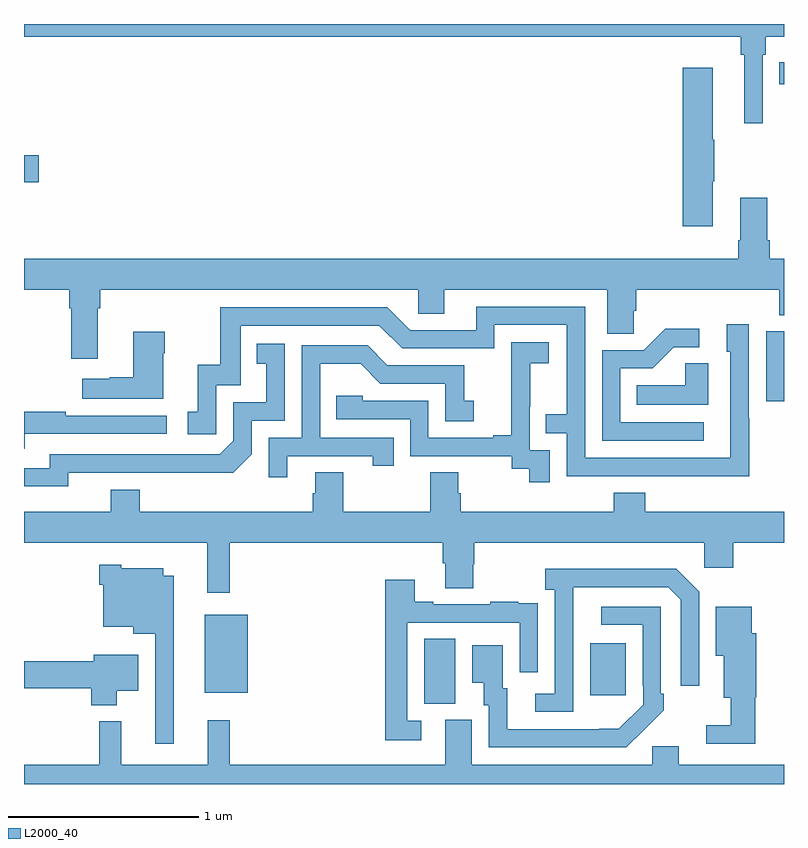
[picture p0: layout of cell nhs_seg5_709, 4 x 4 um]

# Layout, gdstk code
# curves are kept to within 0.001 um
import gdstk
lib = gdstk.Library(unit=1e-6, precision=1e-09)
def R(c, l, rs):  # rectangles x0, y0, x1, y1
    for r in rs: c.add(gdstk.rectangle(r[:2], r[2:], *l))
def P(c, l, *ps):  # polygons
    for p in ps: c.add(gdstk.Polygon(p, *l))
L2000_40 = (2000, 40)

nhs_seg5_709 = lib.new_cell('nhs_seg5_709')
R(nhs_seg5_709, L2000_40, [(157.106,881.221,157.27,881.564), (157.979,881.265,158.167,881.539), (155.951,881.279,156.178,881.689), (158.907,882.813,159,883.182), (155,883.966,155.077,884.108), (158.974,884.482,159,884.598)])
P(nhs_seg5_709, L2000_40, [(158.889,884.636),(158.903,884.636),(158.903,884.732),(159,884.732),(159,884.799),(155,884.799),(155,884.732),(158.773,884.732),(158.773,884.636),(158.792,884.636),(158.792,884.277),(158.889,884.277)],
  [(158.626,883.972),(158.634,883.972),(158.634,884.189),(158.626,884.189),(158.626,884.569),(158.468,884.569),(158.468,883.734),(158.626,883.734)],
  [(155.389,883.304),(155.402,883.304),(155.402,883.4),(157.074,883.4),(157.074,883.273),(157.213,883.273),(157.213,883.4),(158.069,883.4),(158.069,883.168),(158.208,883.168),(158.208,883.291),(158.222,883.291),(158.222,883.4),(158.975,883.4),(158.975,883.267),(159,883.267),(159,883.564),(158.924,883.564),(158.924,883.66),(158.911,883.66),(158.911,883.885),(158.771,883.885),(158.771,883.66),(158.759,883.66),(158.759,883.564),(155,883.564),(155,883.4),(155.237,883.4),(155.237,883.304),(155.249,883.304),(155.249,883.038),(155.389,883.038)],
  [(158.817,882.725),(158.814,882.725),(158.814,883.219),(158.699,883.219),(158.699,883.074),(158.718,883.074),(158.718,882.516),(157.953,882.516),(157.953,883.311),(157.379,883.311),(157.379,883.188),(157.032,883.188),(156.912,883.308),(156.033,883.308),(156.033,883.006),(155.915,883.006),(155.915,882.759),(155.862,882.759),(155.862,882.639),(156.012,882.639),(156.012,882.897),(156.141,882.897),(156.141,883.212),(156.87,883.212),(156.99,883.092),(157.476,883.092),(157.476,883.215),(157.857,883.215),(157.857,882.746),(157.747,882.746),(157.747,882.645),(157.857,882.645),(157.857,882.42),(158.817,882.419)],
  [(158.578,882.702),(158.139,882.702),(158.139,882.987),(158.308,882.987),(158.419,883.098),(158.554,883.098),(158.554,883.196),(158.375,883.196),(158.262,883.083),(158.043,883.083),(158.043,882.606),(158.578,882.606)],
  [(155.734,883.067),(155.742,883.067),(155.742,883.18),(155.576,883.18),(155.576,882.941),(155.45,882.941),(155.45,882.931),(155.307,882.931),(155.307,882.827),(155.734,882.827)],
  [(157.767,882.555),(157.662,882.555),(157.662,882.785),(157.664,882.785),(157.664,883.013),(157.762,883.013),(157.762,883.123),(157.564,883.123),(157.564,882.917),(157.565,882.917),(157.565,882.634),(157.469,882.634),(157.469,882.621),(157.128,882.621),(157.128,882.816),(156.783,882.816),(156.783,882.843),(156.643,882.843),(156.643,882.72),(157.032,882.72),(157.032,882.525),(157.566,882.525),(157.566,882.457),(157.659,882.457),(157.659,882.387),(157.767,882.387)],
  [(155.232,882.438),(156.1,882.437),(156.198,882.534),(156.198,882.711),(156.372,882.711),(156.372,883.117),(156.226,883.117),(156.226,883.011),(156.275,883.011),(156.275,882.807),(156.102,882.807),(156.102,882.606),(156.03,882.534),(155.136,882.534),(155.136,882.462),(155,882.462),(155,882.365),(155.232,882.365)],
  [(156.385,882.525),(156.836,882.525),(156.836,882.474),(156.947,882.474),(156.947,882.621),(156.558,882.621),(156.558,883.01),(156.772,883.01),(156.876,882.906),(157.218,882.906),(157.218,882.708),(157.366,882.708),(157.366,882.817),(157.317,882.817),(157.317,883.002),(156.913,883.002),(156.808,883.107),(156.462,883.107),(156.462,882.621),(156.288,882.621),(156.288,882.414),(156.385,882.414)],
  [(158.602,883.013),(158.481,883.013),(158.481,882.898),(158.224,882.898),(158.224,882.794),(158.602,882.794)],
  [(155.003,882.642),(155.752,882.642),(155.752,882.738),(155.219,882.738),(155.219,882.758),(155,882.758),(155,882.564),(155.003,882.564)],
  [(156.083,882.068),(157.205,882.068),(157.205,881.962),(157.217,881.962),(157.217,881.83),(157.365,881.83),(157.365,881.955),(157.37,881.955),(157.37,882.068),(158.58,882.068),(158.58,881.937),(158.732,881.937),(158.732,882.068),(159,882.068),(159,882.232),(158.27,882.232),(158.27,882.331),(158.105,882.331),(158.105,882.232),(157.298,882.232),(157.298,882.33),(157.285,882.33),(157.285,882.44),(157.138,882.44),(157.138,882.232),(156.681,882.232),(156.681,882.44),(156.533,882.44),(156.533,882.33),(156.521,882.33),(156.521,882.232),(155.609,882.232),(155.609,882.349),(155.456,882.349),(155.456,882.232),(155,882.232),(155,882.068),(155.965,882.068),(155.965,881.805),(156.083,881.805)],
  [(155.788,881.896),(155.734,881.896),(155.734,881.935),(155.511,881.935),(155.511,881.953),(155.396,881.953),(155.396,881.849),(155.417,881.849),(155.417,881.627),(155.576,881.627),(155.576,881.591),(155.691,881.591),(155.691,881.01),(155.788,881.01)],
  [(157.89,881.635),(157.891,881.835),(158.391,881.835),(158.457,881.769),(158.457,881.316),(158.553,881.316),(158.553,881.811),(158.432,881.932),(157.743,881.932),(157.743,881.822),(157.794,881.822),(157.794,881.274),(157.692,881.274),(157.692,881.178),(157.89,881.178)],
  [(157.09,881.133),(157.017,881.133),(157.017,881.649),(157.608,881.649),(157.608,881.388),(157.704,881.388),(157.704,881.642),(157.703,881.642),(157.703,881.751),(157.601,881.751),(157.601,881.758),(157.453,881.758),(157.453,881.745),(157.153,881.745),(157.153,881.758),(157.057,881.758),(157.057,881.875),(156.901,881.875),(156.901,881.028),(157.09,881.028)],
  [(158.261,881.083),(158.262,881.082),(158.367,881.187),(158.367,881.275),(158.352,881.275),(158.352,881.733),(158.037,881.733),(158.037,881.637),(158.256,881.637),(158.256,881.317),(158.259,881.317),(158.259,881.217),(158.131,881.089),(157.543,881.088),(157.543,881.304),(157.519,881.304),(157.519,881.53),(157.358,881.53),(157.358,881.333),(157.421,881.333),(157.421,881.214),(157.446,881.214),(157.446,880.992),(158.17,880.992)],
  [(158.849,881.256),(158.855,881.256),(158.855,881.592),(158.83,881.592),(158.83,881.731),(158.642,881.731),(158.642,881.474),(158.684,881.474),(158.684,881.252),(158.721,881.252),(158.721,881.107),(158.592,881.107),(158.592,881.01),(158.849,881.01)],
  [(155.488,881.291),(155.602,881.291),(155.602,881.479),(155.366,881.479),(155.366,881.444),(155,881.444),(155,881.302),(155.354,881.302),(155.354,881.213),(155.488,881.213)],
  [(159,880.9),(158.446,880.9),(158.446,880.998),(158.307,880.998),(158.307,880.9),(157.357,880.9),(157.357,881.136),(157.217,881.136),(157.217,880.9),(156.083,880.9),(156.083,881.134),(155.966,881.134),(155.966,880.9),(155.513,880.9),(155.513,881.128),(155.395,881.128),(155.395,880.9),(155,880.9),(155,880.799),(159,880.799)])

lib.write_gds('nhs_seg5_709.gds')
